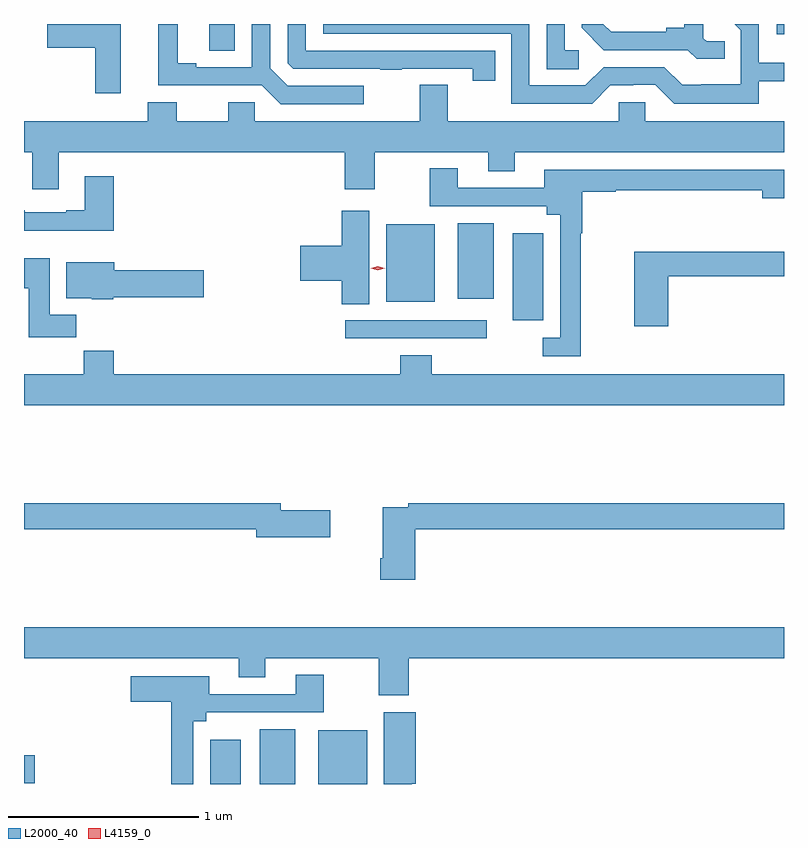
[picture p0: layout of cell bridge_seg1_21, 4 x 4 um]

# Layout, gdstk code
import gdstk
lib = gdstk.Library(unit=1e-6, precision=1e-09)
def R(c, l, rs):  # rectangles x0, y0, x1, y1
    for r in rs: c.add(gdstk.rectangle(r[:2], r[2:], *l))
def P(c, l, *ps):  # polygons
    for p in ps: c.add(gdstk.Polygon(p, *l))
L2000_40 = (2000, 40)
L4159_0 = (4159, 0)

bridge_seg1_21 = lib.new_cell('bridge_seg1_21')
R(bridge_seg1_21, L2000_40, [(820.889,553.735,821.05,553.969), (821.15,553.735,821.338,554.023), (821.459,553.735,821.716,554.017), (819.91,553.739,819.967,553.886), (821.601,556.08,822.346,556.176), (822.482,556.175,822.643,556.633), (821.816,556.274,822.073,556.681), (822.194,556.289,822.382,556.687), (820.886,557.593,821.02,557.735), (823.871,557.682,823.91,557.735)])
P(bridge_seg1_21, L2000_40, [(823.598,557.643),(823.503,557.643),(823.485,557.661),(823.485,557.735),(823.385,557.735),(823.385,557.714),(823.289,557.714),(823.289,557.694),(823,557.694),(822.959,557.735),(822.846,557.735),(822.846,557.714),(822.962,557.598),(823.404,557.598),(823.452,557.551),(823.598,557.551)],
  [(822.389,557.595),(821.394,557.595),(821.394,557.735),(821.298,557.735),(821.298,557.529),(821.328,557.499),(821.785,557.499),(821.785,557.494),(821.897,557.494),(821.897,557.499),(822.271,557.499),(822.271,557.436),(822.389,557.436)],
  [(823.777,557.433),(823.91,557.433),(823.91,557.53),(823.776,557.53),(823.776,557.735),(823.651,557.735),(823.683,557.703),(823.683,557.419),(823.474,557.419),(823.474,557.415),(823.374,557.415),(823.281,557.508),(822.96,557.508),(822.864,557.412),(822.57,557.412),(822.57,557.735),(821.484,557.735),(821.484,557.685),(822.474,557.685),(822.474,557.316),(822.9,557.316),(822.996,557.412),(823.116,557.412),(823.116,557.415),(823.233,557.415),(823.333,557.315),(823.777,557.315)],
  [(820.42,557.735),(820.032,557.735),(820.032,557.611),(820.286,557.611),(820.286,557.37),(820.42,557.37)],
  [(822.829,557.598),(822.756,557.598),(822.756,557.735),(822.66,557.735),(822.66,557.497),(822.829,557.497)],
  [(821.698,557.409),(821.298,557.409),(821.205,557.502),(821.205,557.735),(821.109,557.735),(821.109,557.508),(820.816,557.508),(820.816,557.528),(820.72,557.528),(820.72,557.735),(820.616,557.735),(820.616,557.412),(821.162,557.412),(821.261,557.313),(821.698,557.313)],
  [(820.093,557.06),(821.597,557.06),(821.597,556.866),(821.757,556.866),(821.757,557.06),(822.353,557.06),(822.353,556.961),(822.493,556.961),(822.493,557.06),(823.91,557.06),(823.91,557.224),(823.179,557.224),(823.179,557.322),(823.041,557.322),(823.041,557.224),(822.141,557.224),(822.141,557.414),(821.993,557.414),(821.993,557.224),(821.124,557.224),(821.124,557.322),(820.985,557.322),(820.985,557.224),(820.714,557.224),(820.714,557.323),(820.562,557.323),(820.562,557.224),(819.91,557.224),(819.91,557.06),(819.953,557.06),(819.953,556.866),(820.093,556.866)],
  [(822.841,556.634),(822.848,556.634),(822.848,556.852),(823.025,556.852),(823.025,556.86),(823.796,556.86),(823.796,556.819),(823.91,556.819),(823.91,556.968),(822.647,556.968),(822.647,556.872),(822.193,556.872),(822.193,556.975),(822.046,556.975),(822.046,556.776),(822.662,556.776),(822.662,556.73),(822.732,556.73),(822.732,556.084),(822.639,556.084),(822.639,555.987),(822.841,555.987)],
  [(820.382,556.933),(820.229,556.933),(820.229,556.756),(820.133,556.756),(820.133,556.743),(819.913,556.743),(819.913,556.756),(819.91,556.756),(819.91,556.646),(820.382,556.646)],
  [(821.728,556.753),(821.582,556.753),(821.582,556.568),(821.364,556.568),(821.364,556.385),(821.582,556.385),(821.582,556.261),(821.728,556.261)],
  [(823.301,556.408),(823.91,556.408),(823.91,556.537),(823.123,556.537),(823.123,556.143),(823.301,556.143)],
  [(820.184,556.204),(820.045,556.204),(820.045,556.501),(819.91,556.501),(819.91,556.345),(819.935,556.345),(819.935,556.086),(820.184,556.086)],
  [(820.38,556.297),(820.855,556.297),(820.855,556.439),(820.384,556.439),(820.384,556.48),(820.133,556.48),(820.133,556.292),(820.266,556.292),(820.266,556.286),(820.38,556.286)],
  [(823.91,555.892),(822.056,555.892),(822.056,555.991),(821.891,555.991),(821.891,555.892),(820.382,555.892),(820.382,556.016),(820.225,556.016),(820.225,555.892),(819.91,555.892),(819.91,555.728),(823.91,555.728)],
  [(821.521,555.176),(821.26,555.176),(821.26,555.212),(819.91,555.212),(819.91,555.076),(821.132,555.076),(821.132,555.034),(821.521,555.034)],
  [(821.969,555.076),(823.91,555.076),(823.91,555.212),(821.932,555.212),(821.932,555.192),(821.798,555.192),(821.798,554.923),(821.786,554.923),(821.786,554.811),(821.969,554.811)],
  [(821.936,554.396),(823.91,554.396),(823.91,554.56),(819.91,554.56),(819.91,554.396),(821.039,554.396),(821.039,554.297),(821.179,554.297),(821.179,554.396),(821.776,554.396),(821.776,554.202),(821.936,554.202)],
  [(820.8,554.066),(820.87,554.066),(820.87,554.112),(821.487,554.112),(821.487,554.311),(821.339,554.311),(821.339,554.208),(820.885,554.208),(820.885,554.302),(820.473,554.302),(820.473,554.168),(820.684,554.168),(820.684,553.735),(820.8,553.735)],
  [(821.951,553.737),(821.972,553.737),(821.972,554.113),(821.804,554.113),(821.804,553.735),(821.951,553.735)])
P(bridge_seg1_21, L4159_0, [(821.771,556.44),(821.735,556.45),(821.734,556.45),(821.735,556.45),(821.771,556.46),(821.808,556.45),(821.808,556.45),(821.808,556.45)])

lib.write_gds('bridge_seg1_21.gds')
